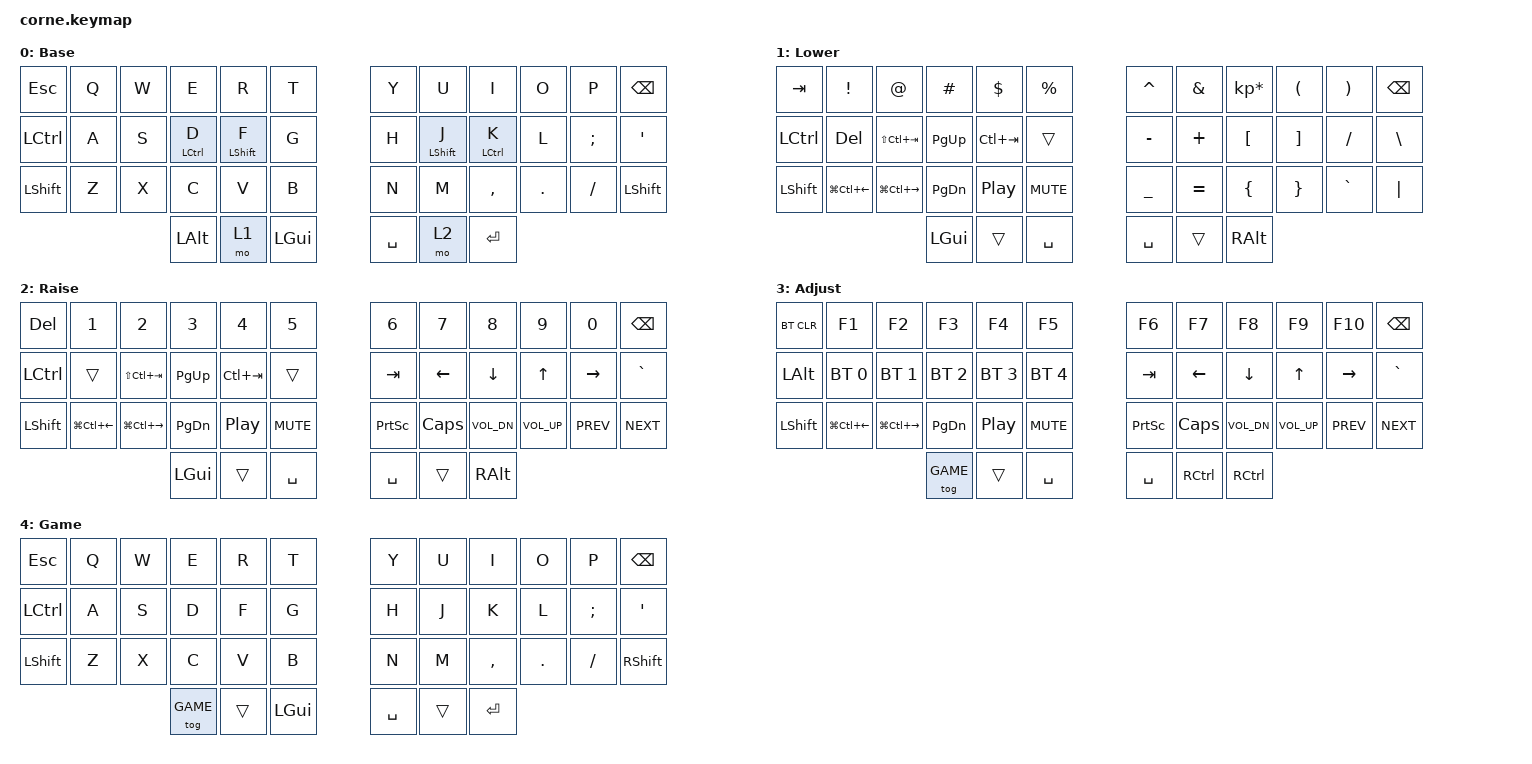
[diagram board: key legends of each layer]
/*
 * Copyright (c) 2020 The ZMK Contributors
 *
 * SPDX-License-Identifier: MIT
 */

#include <behaviors.dtsi>
#include <dt-bindings/zmk/keys.h>
#include <dt-bindings/zmk/bt.h>
#define GAME 4

/ {
            behaviors {
        hm: homerow_mods {
            compatible = "zmk,behavior-hold-tap";
            label = "HOMEROW_MODS";
            #binding-cells = <2>;
            tapping-term-ms = <250>;
            quick-tap-ms = <0>;
            flavor = "tap-preferred";
            bindings = <&kp>, <&kp>;
        };
    };
    conditional_layers {
        compatible = "zmk,conditional-layers";
        tri_layer {
            if-layers = <1 2>;
            then-layer = <3>;
        };
    };

        keymap {
                compatible = "zmk,keymap";

                default_layer {
// -----------------------------------------------------------------------------------------
// |  ESC |  Q  |  W  |  E  |  R  |  T  |   |  Y  |  U   |  I  |  O  |  P  | BKSP |
// | CTRL |  A  |  S  |  D  |  F  |  G  |   |  H  |  J   |  K  |  L  |  ;  |  '   |
// | SHFT |  Z  |  X  |  C  |  V  |  B  |   |  N  |  M   |  ,  |  .  |  /  |SHFT  |
//                    | ALT | LWR | GUI |   | SPAC| RSE  | RET |
                        display-name = "Base";
                        bindings = <
   &kp ESC   &kp Q &kp W &kp E &kp R &kp T   &kp Y &kp U  &kp I     &kp O   &kp P    &kp BSPC
   &kp LCTRL &kp A &kp S &hm LCTRL D &hm LSHFT F &kp G   &kp H &hm LSHFT J  &hm LCTRL K     &kp L   &kp SEMI &kp SQT
   &kp LSHFT &kp Z &kp X &kp C &kp V &kp B   &kp N &kp M  &kp COMMA &kp DOT &kp FSLH &kp LSHFT
                  &kp LALT &mo 1 &kp LGUI   &kp SPACE &mo 2 &kp RET
                        >;
                };
                lower_layer {
// -----------------------------------------------------------------------------------------
// |  TAB |  !  |  @  |  #  |  $  |  %  |   |  ^  |  &  |  *  |  (  |  )  | BKSP |
// | CTRL| DEL | TABL | PGUP| TABR |    |   |  -  |  +  |  [  |  ]  |  /  |   \  |
// | SHFT |DLEFT|DRGHT|PGDN | PLAY|MUTE |   |  _  |  =  | "{" |  "}"|  `  |  "|" |
//                    | GUI |     | SPC |   | SPC |     | ALT |
                        display-name = "Lower";
                        bindings = <
   &kp TAB    &kp EXCL     &kp AT       &kp HASH       &kp DLLR       &kp PRCNT         &kp CARET   &kp AMPS   &kp KP_MULTIPLY &kp LPAR    &kp RPAR &kp BSPC
   &kp LCTRL &kp DEL &kp LS(LC(TAB)) &kp PG_UP  &kp LC(TAB)  &trans    &kp MINUS &kp PLUS &kp LBKT &kp RBKT &kp FSLH &kp BSLH
   &kp LSHFT  &kp LG(LC(LEFT))       &kp LG(LC(RIGHT))       &kp PG_DN       &kp C_PLAY_PAUSE       &kp C_MUTE         &kp UNDER   &kp EQUAL   &kp LBRC &kp RBRC    &kp GRAVE &kp PIPE
                          	        &kp LGUI     &trans       &kp SPACE      &kp SPACE  &trans   &kp RALT
                        >;
                };

                raise_layer {
// -----------------------------------------------------------------------------------------
// |  DEL |  1  |  2  |  3  |  4  |  5  |   |  6  |  7  |  8  |  9  |  0  | BKSP |
// | CTRL |     |TABL | PGUP| TABR|     |   |  TAB| LFT |  DN |  UP | RGT |  `   |
// | SHFT |DLEFT|DRGHT| PGDN| PLAY| MUTE|   | PRSCN|CAPS| VOLD|VOLU | PRV |  NXT |
//                    | GUI |     | SPC |   | ENT |     | CTRL |
                        display-name = "Raise";
                        bindings = <
   &kp  DEL  &kp N1 &kp N2 &kp N3 &kp N4 &kp N5   &kp N6 &kp N7  &kp N8 &kp N9 &kp N0 &kp BSPC
   &kp LCTRL &trans   &kp LS(LC(TAB)) &kp PG_UP   &kp LC(TAB)   &trans      &kp TAB &kp LEFT &kp DOWN        &kp UP &kp RIGHT &kp GRAVE
   &kp LSHFT &kp LG(LC(LEFT))   &kp LG(LC(RIGHT)) &kp PG_DN   &kp C_PLAY_PAUSE   &kp C_MUTE      &kp PSCRN &kp CAPS  &kp C_VOL_DN &kp C_VOL_UP &kp C_PREV &kp C_NEXT
                    	     &kp LGUI &trans   &kp SPACE   &kp SPACE   &trans    &kp RALT
                        >;
                };
                               adjust_layer {
// -----------------------------------------------------------------------------------------
// |BTCLR |  F1 | F2  | F3  | F4  | F5  |   | F6  | F7  | F8  | F9  | F10 | BKSP |
// |      | BT 1| BT 2| BT 3| BT 4| BT 5|   | TAB | LFT |  DN |  UP | RGT |  `   |
// | ALT  |DLEFT|DRGHT|PGDN |PLAY | MUTE|   |PRSCN| CAPS| VOLD| VOLU| PRV |  NXT |
//                    | TOG |     | SPC |   | ENT |     | CTRL|
                       display-name = "Adjust"; 
                        bindings = <
   &bt  BT_CLR  &kp F1 &kp F2 &kp F3 &kp F4 &kp F5   &kp F6 &kp F7  &kp F8 &kp F9 &kp F10 &kp BSPC
   &kp LALT &bt BT_SEL 0   &bt BT_SEL 1 &bt BT_SEL 2   &bt BT_SEL 3   &bt BT_SEL 4      &kp TAB &kp LEFT &kp DOWN        &kp UP &kp RIGHT &kp GRAVE
   &kp LSHFT &kp LG(LC(LEFT))   &kp LG(LC(RIGHT)) &kp PG_DN   &kp C_PLAY_PAUSE   &kp C_MUTE      &kp PSCRN &kp CAPS &kp C_VOL_DN &kp C_VOL_UP        &kp C_PREV &kp C_NEXT
                             &tog GAME &trans   &kp SPACE   &kp SPACE   &kp RCTL    &kp RCTRL
                        >;
                };
                game_layer {
// -----------------------------------------------------------------------------------------
// |  ESC |  Q  |  W  |  E  |  R  |  T  |   |  Y  |  U   |  I  |  O  |  P  | BKSP |
// | CTRL |  A  |  S  |  D  |  F  |  G  |   |  H  |  J   |  K  |  L  |  ;  |  '   |
// | SHFT |  Z  |  X  |  C  |  V  |  B  |   |  N  |  M   |  ,  |  .  |  /  | SHFT |
//                    | TOG |     | GUI |   | SPAC|      | RET |
                        display-name = "Game";
                        bindings = <
   &kp ESC   &kp Q &kp W &kp E &kp R &kp T   &kp Y &kp U  &kp I     &kp O   &kp P    &kp BSPC
   &kp LCTRL &kp A &kp S &kp D &kp F &kp G   &kp H &kp J  &kp K     &kp L   &kp SEMI &kp SQT
   &kp LSHFT &kp Z &kp X &kp C &kp V &kp B   &kp N &kp M  &kp COMMA &kp DOT &kp FSLH &kp RSHIFT
                  &tog GAME &trans &kp LGUI   &kp SPACE &trans &kp RET
                        >;
                }; 
        };
};
